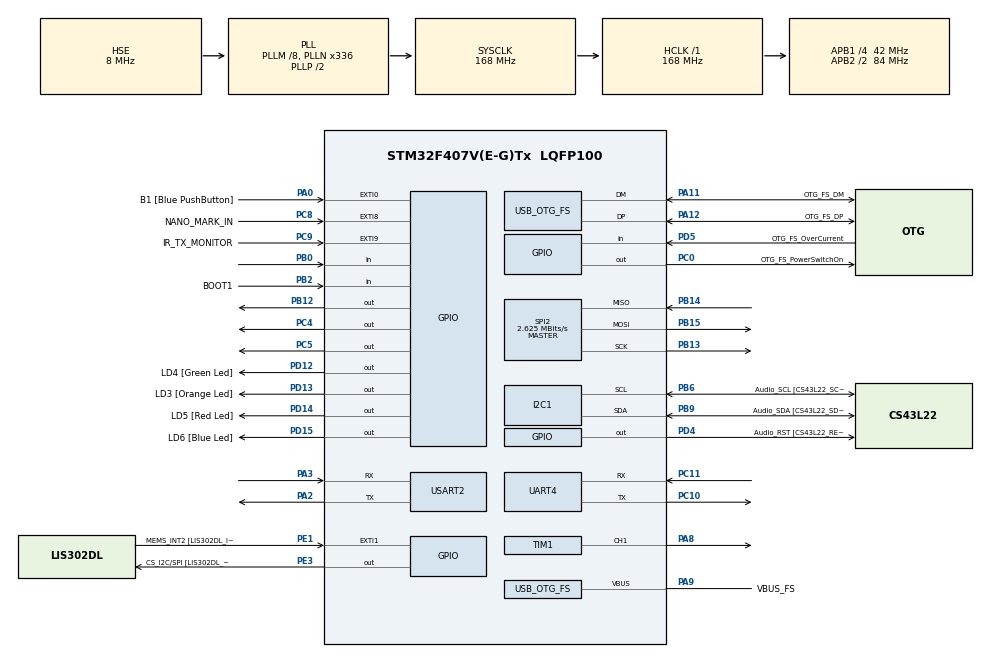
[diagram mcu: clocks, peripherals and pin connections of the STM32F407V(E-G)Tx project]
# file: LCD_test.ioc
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Dma.Request0=SPI2_TX
Dma.SPI2_TX.0.Direction=DMA_MEMORY_TO_PERIPH
Dma.SPI2_TX.0.FIFOMode=DMA_FIFOMODE_DISABLE
Dma.SPI2_TX.0.Instance=DMA1_Stream4
Dma.SPI2_TX.0.MemDataAlignment=DMA_MDATAALIGN_BYTE
Dma.SPI2_TX.0.MemInc=DMA_MINC_ENABLE
Dma.SPI2_TX.0.Mode=DMA_NORMAL
Dma.SPI2_TX.0.PeriphDataAlignment=DMA_PDATAALIGN_BYTE
Dma.SPI2_TX.0.PeriphInc=DMA_PINC_DISABLE
Dma.SPI2_TX.0.Priority=DMA_PRIORITY_LOW
Mcu.Family=STM32F4
Mcu.Name=STM32F407V(E-G)Tx
Mcu.Package=LQFP100
NVIC.DMA1_Stream4_IRQn=true\:0\:0\:false\:false\:true\:false\:true\:true
NVIC.EXTI9_5_IRQn=true\:0\:0\:false\:false\:true\:true\:true\:true
NVIC.OTG_FS_IRQn=true\:0\:0\:false\:false\:true\:true\:true\:true
NVIC.PriorityGroup=NVIC_PRIORITYGROUP_0
NVIC.USART2_IRQn=true\:0\:0\:false\:false\:true\:true\:true\:true
PA0-WKUP.GPIO_Label=B1 [Blue PushButton]
PA0-WKUP.GPIO_ModeDefaultEXTI=GPIO_MODE_EVT_RISING
PA0-WKUP.GPIO_PuPd=GPIO_NOPULL
PA0-WKUP.Signal=GPXTI0
PA10.GPIO_Label=OTG_FS_ID
PA10.GPIO_Mode=GPIO_MODE_AF_PP
PA10.GPIO_PuPd=GPIO_NOPULL
PA10.GPIO_Speed=GPIO_SPEED_FREQ_LOW
PA10.Signal=USB_OTG_FS_ID
PA11.GPIO_Label=OTG_FS_DM
PA11.GPIO_Mode=GPIO_MODE_AF_PP
PA11.GPIO_PuPd=GPIO_NOPULL
PA11.GPIO_Speed=GPIO_SPEED_FREQ_LOW
PA11.Mode=Host_Only
PA11.Signal=USB_OTG_FS_DM
PA12.GPIO_Label=OTG_FS_DP
PA12.GPIO_Mode=GPIO_MODE_AF_PP
PA12.GPIO_PuPd=GPIO_NOPULL
PA12.GPIO_Speed=GPIO_SPEED_FREQ_LOW
PA12.Mode=Host_Only
PA12.Signal=USB_OTG_FS_DP
PA13.GPIO_Label=SWDIO
PA13.Mode=Serial_Wire
PA13.Signal=SYS_JTMS-SWDIO
PA14.GPIO_Label=SWCLK
PA14.Mode=Serial_Wire
PA14.Signal=SYS_JTCK-SWCLK
PA2.Mode=Asynchronous
PA2.Signal=USART2_TX
PA3.Mode=Asynchronous
PA3.Signal=USART2_RX
PA4.GPIO_Label=I2S3_WS [CS43L22_LRCK]
PA4.GPIO_Mode=GPIO_MODE_AF_PP
PA4.GPIO_PuPd=GPIO_NOPULL
PA4.GPIO_Speed=GPIO_SPEED_FREQ_LOW
PA4.Signal=I2S3_WS
PA5.GPIO_Label=SPI1_SCK [LIS302DL_SCL/SPC]
PA5.GPIO_Mode=GPIO_MODE_AF_PP
PA5.GPIO_PuPd=GPIO_NOPULL
PA5.GPIO_Speed=GPIO_SPEED_FREQ_LOW
PA5.Signal=SPI1_SCK
PA6.GPIO_Label=SPI1_MISO [LIS302DL_SDO]
PA6.GPIO_Mode=GPIO_MODE_AF_PP
PA6.GPIO_PuPd=GPIO_NOPULL
PA6.GPIO_Speed=GPIO_SPEED_FREQ_LOW
PA6.Signal=SPI1_MISO
PA7.GPIO_Label=SPI1_MOSI [LIS302DL_SDA/SDI/SDO]
PA7.GPIO_Mode=GPIO_MODE_AF_PP
PA7.GPIO_PuPd=GPIO_NOPULL
PA7.GPIO_Speed=GPIO_SPEED_FREQ_LOW
PA7.Signal=SPI1_MOSI
PA8.Signal=S_TIM1_CH1
PA9.GPIO_Label=VBUS_FS
PA9.GPIO_Mode=GPIO_MODE_INPUT
PA9.GPIO_PuPd=GPIO_NOPULL
PA9.Mode=Activate_VBUS
PA9.Signal=USB_OTG_FS_VBUS
PB0.Signal=GPIO_Input
PB12.GPIO_Speed=GPIO_SPEED_FREQ_HIGH
PB12.PinState=GPIO_PIN_RESET
PB12.Signal=GPIO_Output
PB13.Mode=Full_Duplex_Master
PB13.Signal=SPI2_SCK
PB14.Mode=Full_Duplex_Master
PB14.Signal=SPI2_MISO
PB15.Mode=Full_Duplex_Master
PB15.Signal=SPI2_MOSI
PB2.GPIO_Label=BOOT1
PB2.GPIO_Mode=GPIO_MODE_INPUT
PB2.GPIO_PuPd=GPIO_NOPULL
PB2.Signal=GPIO_Input
PB3.GPIO_Label=SWO
PB3.Signal=SYS_JTDO-SWO
PB6.GPIO_Label=Audio_SCL [CS43L22_SCL]
PB6.GPIO_Mode=GPIO_MODE_AF_OD
PB6.GPIO_Pu=GPIO_PULLUP
PB6.GPIO_PuPd=GPIO_NOPULL
PB6.GPIO_Speed=GPIO_SPEED_FREQ_LOW
PB6.Mode=I2C
PB6.Signal=I2C1_SCL
PB9.GPIO_Label=Audio_SDA [CS43L22_SDA]
PB9.GPIO_Mode=GPIO_MODE_AF_OD
PB9.GPIO_Pu=GPIO_PULLUP
PB9.GPIO_PuPd=GPIO_NOPULL
PB9.GPIO_Speed=GPIO_SPEED_FREQ_LOW
PB9.Mode=I2C
PB9.Signal=I2C1_SDA
PC0.GPIO_Label=OTG_FS_PowerSwitchOn
PC0.GPIO_PuPd=GPIO_NOPULL
PC0.GPIO_Speed=GPIO_SPEED_FREQ_LOW
PC0.PinState=GPIO_PIN_SET
PC0.Signal=GPIO_Output
PC10.Mode=Asynchronous
PC10.Signal=UART4_TX
PC11.Mode=Asynchronous
PC11.Signal=UART4_RX
PC12.GPIO_Label=I2S3_SD [CS43L22_SDIN]
PC12.GPIO_Mode=GPIO_MODE_AF_PP
PC12.GPIO_PuPd=GPIO_NOPULL
PC12.GPIO_Speed=GPIO_SPEED_FREQ_LOW
PC12.Signal=I2S3_SD
PC14-OSC32_IN.GPIO_Label=PC14-OSC32_IN
PC14-OSC32_IN.Signal=RCC_OSC32_IN
PC15-OSC32_OUT.GPIO_Label=PC15-OSC32_OUT
PC15-OSC32_OUT.Signal=RCC_OSC32_OUT
PC4.GPIO_Speed=GPIO_SPEED_FREQ_LOW
PC4.PinState=GPIO_PIN_RESET
PC4.Signal=GPIO_Output
PC5.GPIO_Speed=GPIO_SPEED_FREQ_HIGH
PC5.PinState=GPIO_PIN_RESET
PC5.Signal=GPIO_Output
PC7.GPIO_Label=I2S3_MCK [CS43L22_MCLK]
PC7.GPIO_Mode=GPIO_MODE_AF_PP
PC7.GPIO_PuPd=GPIO_NOPULL
PC7.GPIO_Speed=GPIO_SPEED_FREQ_LOW
PC7.Signal=I2S3_MCK
PC8.GPIO_Label=NANO_MARK_IN
PC8.GPIO_ModeDefaultEXTI=GPIO_MODE_IT_RISING_FALLING
PC8.Signal=GPXTI8
PC9.GPIO_Label=IR_TX_MONITOR
PC9.GPIO_PuPd=GPIO_PULLDOWN
PC9.Signal=GPXTI9
PD12.GPIO_Label=LD4 [Green Led]
PD12.GPIO_PuPd=GPIO_NOPULL
PD12.GPIO_Speed=GPIO_SPEED_FREQ_LOW
PD12.Signal=GPIO_Output
PD13.GPIO_Label=LD3 [Orange Led]
PD13.GPIO_PuPd=GPIO_NOPULL
PD13.GPIO_Speed=GPIO_SPEED_FREQ_LOW
PD13.Signal=GPIO_Output
PD14.GPIO_Label=LD5 [Red Led]
PD14.GPIO_PuPd=GPIO_NOPULL
PD14.GPIO_Speed=GPIO_SPEED_FREQ_LOW
PD14.Signal=GPIO_Output
PD15.GPIO_Label=LD6 [Blue Led]
PD15.GPIO_PuPd=GPIO_NOPULL
PD15.GPIO_Speed=GPIO_SPEED_FREQ_LOW
PD15.Signal=GPIO_Output
PD4.GPIO_Label=Audio_RST [CS43L22_RESET]
PD4.GPIO_PuPd=GPIO_NOPULL
PD4.GPIO_Speed=GPIO_SPEED_FREQ_LOW
PD4.Signal=GPIO_Output
PD5.GPIO_Label=OTG_FS_OverCurrent
PD5.GPIO_Mode=GPIO_MODE_INPUT
PD5.GPIO_PuPd=GPIO_NOPULL
PD5.Signal=GPIO_Input
PE1.GPIO_Label=MEMS_INT2 [LIS302DL_INT2]
PE1.GPIO_ModeDefaultEXTI=GPIO_MODE_EVT_RISING
PE1.GPIO_PuPd=GPIO_NOPULL
PE1.Signal=GPXTI1
PE3.GPIO_Label=CS_I2C/SPI [LIS302DL_CS_I2C/SPI]
PE3.GPIO_PuPd=GPIO_NOPULL
PE3.GPIO_Speed=GPIO_SPEED_FREQ_LOW
PE3.Signal=GPIO_Output
PH0-OSC_IN.GPIO_Label=PH0-OSC_IN
PH0-OSC_IN.Mode=HSE-External-Clock-Source
PH0-OSC_IN.Signal=RCC_OSC_IN
PH1-OSC_OUT.GPIO_Label=PH1-OSC_OUT
PH1-OSC_OUT.Mode=HSE-External-Clock-Source
PH1-OSC_OUT.Signal=RCC_OSC_OUT
ProjectManager.HeapSize=0x200
ProjectManager.StackSize=0x400
ProjectManager.TargetToolchain=Makefile
RCC.48MHZClocksFreq_Value=48000000
RCC.AHBFreq_Value=168000000
RCC.APB1CLKDivider=RCC_HCLK_DIV4
RCC.APB1Freq_Value=42000000
RCC.APB1TimFreq_Value=84000000
RCC.APB2CLKDivider=RCC_HCLK_DIV2
RCC.APB2Freq_Value=84000000
RCC.APB2TimFreq_Value=168000000
RCC.CortexFreq_Value=168000000
RCC.HCLKFreq_Value=168000000
RCC.HSE_VALUE=8000000
RCC.HSI_VALUE=16000000
RCC.LSE_VALUE=32768
RCC.PLLM=8
RCC.PLLN=336
RCC.PLLQ=7
RCC.SYSCLKFreq_VALUE=168000000
RCC.SYSCLKSource=RCC_SYSCLKSOURCE_PLLCLK
RCC.VCOOutputFreq_Value=336000000
SH.S_TIM1_CH1.0=TIM1_CH1,PWM Generation1 CH1
SPI2.BaudRatePrescaler=SPI_BAUDRATEPRESCALER_16
SPI2.CLKPhase=SPI_PHASE_2EDGE
SPI2.CLKPolarity=SPI_POLARITY_HIGH
SPI2.CalculateBaudRate=2.625 MBits/s
SPI2.Direction=SPI_DIRECTION_2LINES
SPI2.Mode=SPI_MODE_MASTER
SPI2.VirtualType=VM_MASTER
TIM1.Channel-PWM\ Generation1\ CH1=TIM_CHANNEL_1
TIM1.Period=52
TIM1.Prescaler=83
TIM1.Pulse-PWM\ Generation1\ CH1=26
UART4.VirtualMode=Asynchronous
USART2.VirtualMode=VM_ASYNC
USB_HOST.BSP.number=1
USB_HOST.USBH_HandleTypeDef-CDC_FS=hUsbHostFS
USB_HOST.VirtualModeFS=Cdc
USB_HOST0.BSP.STBoard=false
USB_HOST0.BSP.api=Unknown
USB_HOST0.BSP.instance=PC0
USB_HOST0.BSP.ip=GPIO
USB_HOST0.BSP.mode=Output
USB_HOST0.BSP.name=Drive_VBUS_FS
USB_HOST0.BSP.solution=PC0
USB_OTG_FS.VirtualMode=Host_Only
USB_OTG_FS.phy_itface=HCD_PHY_EMBEDDED
VP_TIM1_VS_ClockSourceINT.Mode=Internal
VP_USB_HOST_VS_USB_HOST_CDC_FS.Mode=CDC_FS
board=STM32F407G-DISC1

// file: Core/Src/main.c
/* USER CODE BEGIN Header */
/**
  ******************************************************************************
  * @file           : main.c
  * @brief          : Main program body
  ******************************************************************************
  * @attention
  *
  * Copyright (c) 2026 STMicroelectronics.
  * All rights reserved.
  *
  * This software is licensed under terms that can be found in the LICENSE file
  * in the root directory of this software component.
  * If no LICENSE file comes with this software, it is provided AS-IS.
  *
  ******************************************************************************
  */
/* USER CODE END Header */
#include "main.h"
#include "dma.h"
#include "i2c.h"
#include "spi.h"
#include "tim.h"
#include "usart.h"
#include "usb_host.h"
#include "gpio.h"

/* USER CODE BEGIN Includes */
#include "ili9341.h"
#include "lcd.h"
#include <stdio.h>
/* USER CODE END Includes */

/* USER CODE BEGIN PD */
/* ===== NEC timing ===== */
#define IR_START_ON_US             9000U
#define IR_START_OFF_US            4500U
#define IR_BIT_MARK_US             562U
#define IR_ZERO_SPACE_US           562U
#define IR_ONE_SPACE_US            1687U
#define IR_STOP_MARK_US            562U

/* ===== Send strategy ===== */

#define IR_SAFE_PERIOD_MS       120U
#define IR_EVENT_PERIOD_MS         150U
#define IR_ERROR_PERIOD_MS         300U
#define IR_MAIN_LOOP_DELAY_MS      5U

#define IR_PWM_DUTY                26U

/* ===== Event type：2 bit ===== */
#define IR_TYPE_NONE               0x00U  /* 00：安全 */
#define IR_TYPE_VRU_CROSS          0x01U  /* 01：弱勢用路人穿越 */
#define IR_TYPE_BRAKE              0x02U  /* 10：前前車緊急煞車 */
#define IR_TYPE_ERROR              0x03U  /* 11：系統錯誤 */

/* ===== Warning level ===== */
#define IR_LEVEL_NONE              0x00U
#define IR_LEVEL_1                 0x01U
#define IR_LEVEL_2                 0x02U
#define IR_LEVEL_3                 0x03U

/* USER CODE END PD */

/* USER CODE BEGIN PV */
static uint8_t current_event_type = IR_TYPE_NONE;
static uint8_t current_level = IR_LEVEL_NONE;

static uint32_t last_send_tick = 0U;
static uint8_t force_send_now = 0U;

/* 避免相同事件重複刷新 LCD */
static uint8_t lcd_last_event_type = 0xFFU;
static uint8_t lcd_last_level = 0xFFU;
/* ===== 延遲量測變數 ===== */
static uint32_t timing_event_start_cycle = 0U;

static uint32_t timing_lcd_us = 0U;
static uint32_t timing_ir_wait_us = 0U;
static uint32_t timing_ir_tx_us = 0U;

/* 從進入Set_Event到LCD完成的總時間 */
static uint32_t timing_total_to_lcd_us = 0U;

/* 每次新事件的流水編號，方便和Python送出的事件對照 */
static uint32_t timing_sequence = 0U;

static uint8_t timing_first_tx_pending = 0U;
/* ===== Nano → 發送端 STM32 → IR 實際開始輸出的時間戳 ===== */

/* PC8 上升緣：Nano 開始 YOLO/TensorRT 辨識 */
static volatile uint32_t timing_nano_start_cycle = 0U;

/* PC8 下降緣：Nano 完成事件與 Level 判定 */
static volatile uint32_t timing_nano_done_cycle = 0U;

/* UART4 已收到完整事件字元 */
static volatile uint32_t timing_uart_done_cycle = 0U;

/* PC9 偵測到 PA8 第一個 PWM 上升緣 */
static volatile uint32_t timing_ir_tx_start_cycle = 0U;

/* 換算完成的各段延遲，單位為 us */
static uint32_t timing_nano_inference_us = 0U;
static uint32_t timing_nano_to_uart_us = 0U;
static volatile uint32_t timing_stm32_to_ir_us = 0U;

/* PC8 是否已收到一組完整的上升緣與下降緣 */
static volatile uint8_t timing_nano_mark_valid = 0U;

/* UART 事件是否有效，避免開機 SAFE 誤算 */
static volatile uint8_t timing_uart_event_valid = 0U;

/* 只有新事件第一包 IR 才允許 PC9 記錄 */
static volatile uint8_t timing_ir_monitor_armed = 0U;
/* USER CODE END PV */

void SystemClock_Config(void);
void MX_USB_HOST_Process(void);

/* USER CODE BEGIN PFP */
static void UART_Print(const char *msg);

static void DWT_Delay_Init(void);
static void delay_us(uint32_t us);
static uint32_t DWT_ElapsedUs(uint32_t start_cycle);
static uint32_t DWT_BetweenUs(uint32_t start_cycle,
                              uint32_t end_cycle);

static void IR_CarrierOn(void);
static void IR_CarrierOff(void);
static void IR_SendStart(void);
static void IR_SendBit(uint8_t bitValue);
static void IR_SendStop(void);
static uint8_t IR_CalculateCRC2(uint8_t data4);
static uint8_t IR_MakePayload(uint8_t event_type, uint8_t level);
static void IR_SendPayload6(uint8_t payload);
static void IR_SendCurrentEvent(void);
static void IR_Process(void);

static void LCD_UpdateEvent(uint8_t event_type, uint8_t level);
static void Timing_PrintResult(uint8_t event_type, uint8_t level);
static void Set_Event(uint8_t event_type, uint8_t level);
static void Check_UART_Command(void);

/* USER CODE END PFP */

/* USER CODE BEGIN 0 */
static void UART_Print(const char *msg)
{
  uint16_t len = 0U;

  while (msg[len] != '\0')
  {
    len++;
  }

  HAL_UART_Transmit(&huart4,
                    (uint8_t *)msg,
                    len,
                    HAL_MAX_DELAY);
}

/*
 * STM32F407 Cortex-M4 DWT 微秒延遲。
 * NEC 時序需要 us 等級，不能使用 HAL_Delay() 取代。
 */
static void DWT_Delay_Init(void)
{
  CoreDebug->DEMCR |= CoreDebug_DEMCR_TRCENA_Msk;

  DWT->CYCCNT = 0U;
  DWT->CTRL |= DWT_CTRL_CYCCNTENA_Msk;
}

static void delay_us(uint32_t us)
{
  uint32_t start_tick;
  uint32_t delay_ticks;

  start_tick = DWT->CYCCNT;
  delay_ticks = us * (SystemCoreClock / 1000000U);

  while ((DWT->CYCCNT - start_tick) < delay_ticks)
  {
  }
}
static uint32_t DWT_ElapsedUs(uint32_t start_cycle)
{
  uint32_t elapsed_cycles;

  elapsed_cycles = DWT->CYCCNT - start_cycle;

  return elapsed_cycles /
         (SystemCoreClock / 1000000U);
}

static uint32_t DWT_BetweenUs(uint32_t start_cycle,
                              uint32_t end_cycle)
{
  uint32_t elapsed_cycles;

  elapsed_cycles = end_cycle - start_cycle;

  return elapsed_cycles /
         (SystemCoreClock / 1000000U);
}
/* PA8 / TIM1_CH1 38 kHz carrier */
static void IR_CarrierOn(void)
{
  __HAL_TIM_SET_COMPARE(&htim1,
                        TIM_CHANNEL_1,
                        IR_PWM_DUTY);
}

static void IR_CarrierOff(void)
{
  __HAL_TIM_SET_COMPARE(&htim1,
                        TIM_CHANNEL_1,
                        0U);
}

static void IR_SendStart(void)
{
  IR_CarrierOn();
  delay_us(IR_START_ON_US);

  IR_CarrierOff();
  delay_us(IR_START_OFF_US);
}

static void IR_SendBit(uint8_t bitValue)
{
  IR_CarrierOn();
  delay_us(IR_BIT_MARK_US);

  IR_CarrierOff();

  if (bitValue != 0U)
  {
    delay_us(IR_ONE_SPACE_US);
  }
  else
  {
    delay_us(IR_ZERO_SPACE_US);
  }
}

static void IR_SendStop(void)
{
  IR_CarrierOn();
  delay_us(IR_STOP_MARK_US);

  IR_CarrierOff();
}
static void LCD_UpdateEvent(uint8_t event_type, uint8_t level)
{
  uint32_t lcd_start_cycle;

  /*
   * 預設這次沒有重新更新 LCD。
   * 如果相同畫面直接 return，LCD 時間會是 0。
   */
  timing_lcd_us = 0U;

  /*
   * 狀態相同就不重新繪圖，避免 LCD 閃爍。
   */
  if ((lcd_last_event_type == event_type) &&
      (lcd_last_level == level))
  {
    return;
  }

  lcd_last_event_type = event_type;
  lcd_last_level = level;

  /*
   * 開始測量整張畫面的更新時間。
   */
  lcd_start_cycle = DWT->CYCCNT;

  if (event_type == IR_TYPE_ERROR)
  {
    LCD_ShowSystemErrorScreen();
  }
  else if ((event_type == IR_TYPE_NONE) &&
           (level == IR_LEVEL_NONE))
  {
    LCD_ShowSafeScreen();
  }
  else if ((event_type == IR_TYPE_VRU_CROSS) &&
           (level == IR_LEVEL_1))
  {
    LCD_ShowLevel1Screen();
  }
  else if ((event_type == IR_TYPE_VRU_CROSS) &&
           (level == IR_LEVEL_2))
  {
    LCD_ShowLevel2Screen();
  }
  else if ((event_type == IR_TYPE_VRU_CROSS) &&
           (level == IR_LEVEL_3))
  {
    LCD_ShowLevel3Screen();
  }
  else if ((event_type == IR_TYPE_BRAKE) &&
          (level == IR_LEVEL_1))
  {
    LCD_ShowBrakeLevel1Screen();
  }
  else if ((event_type == IR_TYPE_BRAKE) &&
           (level == IR_LEVEL_2))
  {
    LCD_ShowBrakeLevel2Screen();
  }
  else if ((event_type == IR_TYPE_BRAKE) &&
          (level == IR_LEVEL_3))
  {
    LCD_ShowBrakeLevel3Screen();
  }
  else
  {
    LCD_ShowSystemErrorScreen();
  }

  /*
   * 畫面函式執行結束後，SPI 資料已經傳送完成。
   */
  timing_lcd_us =
      DWT_ElapsedUs(lcd_start_cycle);
}
/*
 * Payload：
 *
 * TTT LL CCC
 *
 * TTT：event type
 * LL ：warning level
 * CCC：TTT XOR 0LL
 */
/*
 * CRC-2 生成多項式：
 *
 * G(x) = x^2 + x + 1
 * 二進位表示為 111，也就是 0x07。
 *
 * 傳入資料格式：
 * TTLL，共4 bit。
 *
 * 回傳：
 * 2 bit CRC。
 */
static uint8_t IR_CalculateCRC2(uint8_t data4)
{
  uint8_t remainder;
  int8_t bit;

  /*
   * 只保留低4 bit，並在後面補2個0。
   *
   * 例如：
   * data4 = 0110
   * remainder = 011000
   */
  remainder = (uint8_t)((data4 & 0x0FU) << 2);

  /*
   * 使用 111 做模二除法。
   * 模二除法中的減法就是 XOR。
   */
  for (bit = 5; bit >= 2; bit--)
  {
    if ((remainder & (1U << bit)) != 0U)
    {
      remainder ^= (uint8_t)(0x07U << (bit - 2));
    }
  }

  /*
   * 最後只保留2 bit餘數。
   */
  return remainder & 0x03U;
}

/*
 * 6-bit Payload：
 *
 * TT LL CC
 *
 * TT：事件種類，2 bit
 * LL：事件等級，2 bit
 * CC：CRC-2，2 bit
 */
static uint8_t IR_MakePayload(uint8_t event_type,
                              uint8_t level)
{
  uint8_t data4;
  uint8_t crc2;

  /*
   * 將事件種類與等級組成4 bit：
   *
   * TTLL
   */
  data4 = (uint8_t)(((event_type & 0x03U) << 2) |
                     (level & 0x03U));

  crc2 = IR_CalculateCRC2(data4);

  /*
   * 組成：
   *
   * TTLLCC
   */
  return (uint8_t)((data4 << 2) | crc2);
}

/*
 * 6-bit Payload，MSB first。
 *
 * 傳送順序：
 * bit5 → bit4 → bit3 → bit2 → bit1 → bit0
 */
static void IR_SendPayload6(uint8_t payload)
{
  int8_t i;

  payload &= 0x3FU;

  for (i = 5; i >= 0; i--)
  {
    IR_SendBit((payload >> i) & 0x01U);
  }
}

static void IR_SendCurrentEvent(void)
{
  uint8_t payload;
  uint32_t ir_start_cycle;
  uint8_t is_first_tx;

  payload = IR_MakePayload(current_event_type,
                           current_level);

  /*
   * 記住這是不是新事件的第一包紅外線。
   */
  is_first_tx = timing_first_tx_pending;

  /*
   * 只有第一包才測量：
   * 從進入Set_Event到真正開始發射IR的等待時間。
   */
  if (is_first_tx != 0U)
  {
    timing_ir_wait_us =
        DWT_ElapsedUs(timing_event_start_cycle);
  }

  /*
   * 開始測量一包完整紅外線的發送時間。
   */
  ir_start_cycle = DWT->CYCCNT;

  /*
   * 新事件第一包發送前，打開 PC9 的 EXTI9。
   * PC9 接到 PA8，捕捉 PA8 真正出現的第一個 PWM 上升緣。
   */
  if (is_first_tx != 0U)
  {
    timing_ir_tx_start_cycle = 0U;
    timing_stm32_to_ir_us = 0U;
    timing_ir_monitor_armed = 1U;

    __HAL_GPIO_EXTI_CLEAR_IT(GPIO_PIN_9);
    EXTI->IMR |= GPIO_PIN_9;
  }

  IR_SendStart();
  IR_SendPayload6(payload);
  IR_SendStop();

  IR_CarrierOff();

  /*
   * 最後一個紅外線脈波結束後停止計時。
   */
  timing_ir_tx_us =
      DWT_ElapsedUs(ir_start_cycle);

  /*
   * 第一包已完成。
   * 完整時間稍後等LCD完成後再一起列印。
   */
  if (is_first_tx != 0U)
  {
    timing_first_tx_pending = 0U;
  }
}
/* 把新函式加在這裡 */
static void Timing_PrintResult(uint8_t event_type,
                               uint8_t level)
{
  char log_msg[340];
  uint8_t payload;

  payload = IR_MakePayload(event_type, level);

  timing_sequence++;

  snprintf(
      log_msg,
      sizeof(log_msg),
      "TIME,SEQ=%lu,TYPE=%u,LEVEL=%u,PAYLOAD=0x%02X,"
      "NANO_INFER=%lu us,NANO_TO_UART=%lu us,"
      "STM32_TO_IR=%lu us,WAIT_TO_IR=%lu us,"
      "IR_TX=%lu us,LCD=%lu us,TOTAL_TO_LCD=%lu us\r\n",
      (unsigned long)timing_sequence,
      (unsigned int)event_type,
      (unsigned int)level,
      (unsigned int)payload,
      (unsigned long)timing_nano_inference_us,
      (unsigned long)timing_nano_to_uart_us,
      (unsigned long)timing_stm32_to_ir_us,
      (unsigned long)timing_ir_wait_us,
      (unsigned long)timing_ir_tx_us,
      (unsigned long)timing_lcd_us,
      (unsigned long)timing_total_to_lcd_us
  );

  UART_Print(log_msg);

  /* 避免下一筆非 Nano 指令沿用上一筆標記 */
  timing_nano_mark_valid = 0U;
  timing_uart_event_valid = 0U;
}
static void Set_Event(uint8_t event_type,
                      uint8_t level)
{
  /*
   * 從STM32已經取得事件、開始處理時計時。
   *
   * 注意：這不包含Nano影像辨識時間，
   * 也不包含UART字元尚未到達STM32之前的時間。
   */
  timing_event_start_cycle = DWT->CYCCNT;

  /*
   * 清除上一筆量測結果，
   * 避免誤把上一個事件的值印出來。
   */
  timing_lcd_us = 0U;
  timing_ir_wait_us = 0U;
  timing_ir_tx_us = 0U;
  timing_total_to_lcd_us = 0U;

  /*
   * 下一次紅外線是新事件的第一包。
   */
  timing_first_tx_pending = 1U;

  /*
   * 儲存目前事件。
   */
  current_event_type = event_type;
  current_level = level;

  /*
   * 新事件立即發送第一包IR。
   */
  force_send_now = 1U;
  last_send_tick = HAL_GetTick();

  /*
   * 先發送第一包紅外線。
   */
  IR_Process();

  /*
   * 紅外線完成後，再更新前車LCD。
   */
  LCD_UpdateEvent(event_type, level);

  /*
   * 從事件開始處理，到前車LCD完成的總時間。
   */
  timing_total_to_lcd_us =
      DWT_ElapsedUs(timing_event_start_cycle);

  /*
   * 此時IR和LCD都是這一次事件的結果，
   * 最後再一起列印。
   */
  Timing_PrintResult(event_type, level);
}
static void Check_UART_Command(void)
{
  uint8_t rx_data;

  /*
   * 只等待 1 ms，避免程式一直卡在 UART。
   */
  if (HAL_UART_Receive(&huart4,
                       &rx_data,
                       1U,
                       1U) != HAL_OK)
  {
    return;
  }

  /* UART4 已收到完整事件字元 */
  timing_uart_done_cycle = DWT->CYCCNT;
  timing_uart_event_valid = 1U;

  if (timing_nano_mark_valid != 0U)
  {
    timing_nano_inference_us =
        DWT_BetweenUs(timing_nano_start_cycle,
                      timing_nano_done_cycle);

    timing_nano_to_uart_us =
        DWT_BetweenUs(timing_nano_done_cycle,
                      timing_uart_done_cycle);
  }
  else
  {
    timing_nano_inference_us = 0U;
    timing_nano_to_uart_us = 0U;
  }

  switch (rx_data)
  {
    case '0':
      Set_Event(IR_TYPE_NONE,
                IR_LEVEL_NONE);

      //UART_Print("\r\nCMD 0: SAFE\r\n");

      break;

    case '1':
      Set_Event(IR_TYPE_VRU_CROSS,
                IR_LEVEL_1);

      //UART_Print("\r\nCMD 1: VRU Level 1\r\n");

      break;

    case '2':
      Set_Event(IR_TYPE_VRU_CROSS,
                IR_LEVEL_2);

      //UART_Print("\r\nCMD 2: VRU Level 2\r\n");

      break;

    case '3':
      Set_Event(IR_TYPE_VRU_CROSS,
                IR_LEVEL_3);

      //UART_Print("\r\nCMD 3: VRU Level 3\r\n");

      break;
      case '4':
      Set_Event(IR_TYPE_BRAKE,
                IR_LEVEL_1);

      //UART_Print("\r\nCMD 4: BRAKE Level 1\r\n");

      break;

    case '5':
      Set_Event(IR_TYPE_BRAKE,
                IR_LEVEL_2);

      //UART_Print("\r\nCMD 5: BRAKE Level 2\r\n");

      break;

    case '6':
      Set_Event(IR_TYPE_BRAKE,
                IR_LEVEL_3);

      //UART_Print("\r\nCMD 6: BRAKE Level 3\r\n");

      break;

    case 'E':
    case 'e':
      Set_Event(IR_TYPE_ERROR,
                IR_LEVEL_NONE);

      //UART_Print("\r\nCMD E: SYSTEM ERROR\r\n");

      break;

    case '\r':
    case '\n':
      /*
       * 忽略 Enter。
       */
      break;

    default:
      UART_Print("\r\nInvalid command\r\n");
      UART_Print("Use: 0, 1, 2, 3, 4, 5, 6 or E\r\n");
      break;
  }
}
static void IR_Process(void)
{
  uint32_t now;
  uint32_t period_ms;

  now = HAL_GetTick();

  /*
 * SAFE 狀態：
 * 每隔固定時間持續發送 00000000，
 * 直到目前狀態改變。
 */
if ((current_event_type == IR_TYPE_NONE) &&
    (current_level == IR_LEVEL_NONE))
{
  if ((force_send_now != 0U) ||
      ((now - last_send_tick) >= IR_SAFE_PERIOD_MS))
  {
    IR_SendCurrentEvent();

    last_send_tick = now;
    force_send_now = 0U;

    //UART_Print("TX SAFE 00000000\r\n");

  }

  return;
}

  /*
   * 系統錯誤每 300 ms 發送一次；
   * 一般事件每 150 ms 發送一次。
   */
  if (current_event_type == IR_TYPE_ERROR)
  {
    period_ms = IR_ERROR_PERIOD_MS;
  }
  else
  {
    period_ms = IR_EVENT_PERIOD_MS;
  }

  if ((force_send_now != 0U) ||
      ((now - last_send_tick) >= period_ms))
  {
    IR_SendCurrentEvent();

    last_send_tick = now;
    force_send_now = 0U;
  }
}

/* USER CODE END 0 */

int main(void)
{

  /* MCU Configuration--------------------------------------------------------*/

  /* Reset of all peripherals, Initializes the Flash interface and the Systick. */
  HAL_Init();

  /* Configure the system clock */
  SystemClock_Config();

  /* Initialize all configured peripherals */
  MX_GPIO_Init();
  MX_DMA_Init();
  MX_I2C1_Init();
  MX_SPI2_Init();
  MX_TIM1_Init();
  MX_UART4_Init();
  MX_USART2_UART_Init();
  MX_USB_HOST_Init();
  /* USER CODE BEGIN 2 */

/*
 * 等待 LCD 電源及控制器穩定。
 */
HAL_Delay(1000);

ILI9341_Init();
HAL_Delay(100);

/*
 * 初始化 DWT 微秒延遲。
 * NEC 紅外線時序需要 us 等級延遲。
 */
DWT_Delay_Init();

/*
 * PC9 只在新事件第一包發送前才開啟。
 * 先遮罩 EXTI9，避免待機期間被其他邊緣觸發。
 */
EXTI->IMR &= ~GPIO_PIN_9;
__HAL_GPIO_EXTI_CLEAR_IT(GPIO_PIN_9);

/*
 * 啟動 TIM1 Channel 1 PWM。
 */
if (HAL_TIM_PWM_Start(&htim1,
                      TIM_CHANNEL_1) != HAL_OK)
{
  Error_Handler();
}

/*
 * 開機預設先關閉紅外線載波。
 */
IR_CarrierOff();

/*
 * 開機初始狀態設定為 SAFE。
 * 這裡會同時：
 * 1. 顯示安全畫面
 * 2. 開始週期性發送 SAFE 封包
 */
Set_Event(IR_TYPE_NONE,
          IR_LEVEL_NONE);

UART_Print("\r\nLCD + IR TX Ready\r\n");
UART_Print("0 = SAFE\r\n");
UART_Print("1 = VRU Level 1\r\n");
UART_Print("2 = VRU Level 2\r\n");
UART_Print("3 = VRU Level 3\r\n");

UART_Print("4 = BRAKE Level 1\r\n");
UART_Print("5 = BRAKE Level 2\r\n");
UART_Print("6 = BRAKE Level 3\r\n");
UART_Print("E = SYSTEM ERROR\r\n");

  /* USER CODE END 2 */

  /* Infinite loop */
  while (1)
{
    MX_USB_HOST_Process();

    /* USER CODE BEGIN 3 */

  /*
   * 檢查 UART4 是否收到 0、1、2、3、E。
   */
  Check_UART_Command();

  /*
   * 根據目前狀態發送紅外線。
   */
  IR_Process();

  /*
   * 避免主迴圈跑得過快。
   */
  HAL_Delay(IR_MAIN_LOOP_DELAY_MS);
  }
  /* USER CODE END 3 */
}

void SystemClock_Config(void)
{
  RCC_OscInitTypeDef RCC_OscInitStruct = {0};
  RCC_ClkInitTypeDef RCC_ClkInitStruct = {0};

  /** Configure the main internal regulator output voltage
  */
  __HAL_RCC_PWR_CLK_ENABLE();
  __HAL_PWR_VOLTAGESCALING_CONFIG(PWR_REGULATOR_VOLTAGE_SCALE1);

  /** Initializes the RCC Oscillators according to the specified parameters
  * in the RCC_OscInitTypeDef structure.
  */
  RCC_OscInitStruct.OscillatorType = RCC_OSCILLATORTYPE_HSE;
  RCC_OscInitStruct.HSEState = RCC_HSE_BYPASS;
  RCC_OscInitStruct.PLL.PLLState = RCC_PLL_ON;
  RCC_OscInitStruct.PLL.PLLSource = RCC_PLLSOURCE_HSE;
  RCC_OscInitStruct.PLL.PLLM = 8;
  RCC_OscInitStruct.PLL.PLLN = 336;
  RCC_OscInitStruct.PLL.PLLP = RCC_PLLP_DIV2;
  RCC_OscInitStruct.PLL.PLLQ = 7;
  if (HAL_RCC_OscConfig(&RCC_OscInitStruct) != HAL_OK)
  {
    Error_Handler();
  }

  /** Initializes the CPU, AHB and APB buses clocks
  */
  RCC_ClkInitStruct.ClockType = RCC_CLOCKTYPE_HCLK|RCC_CLOCKTYPE_SYSCLK
                              |RCC_CLOCKTYPE_PCLK1|RCC_CLOCKTYPE_PCLK2;
  RCC_ClkInitStruct.SYSCLKSource = RCC_SYSCLKSOURCE_PLLCLK;
  RCC_ClkInitStruct.AHBCLKDivider = RCC_SYSCLK_DIV1;
  RCC_ClkInitStruct.APB1CLKDivider = RCC_HCLK_DIV4;
  RCC_ClkInitStruct.APB2CLKDivider = RCC_HCLK_DIV2;

  if (HAL_RCC_ClockConfig(&RCC_ClkInitStruct, FLASH_LATENCY_5) != HAL_OK)
  {
    Error_Handler();
  }
}

/* USER CODE BEGIN 4 */

void HAL_GPIO_EXTI_Callback(uint16_t GPIO_Pin)
{
  uint32_t now_cycle;

  now_cycle = DWT->CYCCNT;

  /* PC8：Nano 辨識開始／完成標記，使用雙邊緣中斷 */
  if (GPIO_Pin == GPIO_PIN_8)
  {
    if (HAL_GPIO_ReadPin(GPIOC, GPIO_PIN_8) == GPIO_PIN_SET)
    {
      /* 上升緣：Nano 開始辨識 */
      timing_nano_start_cycle = now_cycle;
      timing_nano_mark_valid = 0U;
    }
    else
    {
      /* 下降緣：Nano 完成事件與 Level 判定 */
      timing_nano_done_cycle = now_cycle;
      timing_nano_mark_valid = 1U;
    }

    return;
  }

  /* PC9：監看 PA8，僅記錄新事件第一包的第一個 PWM 上升緣 */
  if (GPIO_Pin == GPIO_PIN_9)
  {
    if (timing_ir_monitor_armed != 0U)
    {
      timing_ir_tx_start_cycle = now_cycle;

      if (timing_uart_event_valid != 0U)
      {
        timing_stm32_to_ir_us =
            DWT_BetweenUs(timing_uart_done_cycle,
                          timing_ir_tx_start_cycle);
      }
      else
      {
        timing_stm32_to_ir_us = 0U;
      }

      timing_ir_monitor_armed = 0U;

      /* 抓到第一個邊緣後遮罩 EXTI9，避免 38 kHz 持續中斷 */
      EXTI->IMR &= ~GPIO_PIN_9;
    }

    return;
  }
}

/* USER CODE END 4 */

void Error_Handler(void)
{
  __disable_irq();
  while (1)
  {
  }
}
